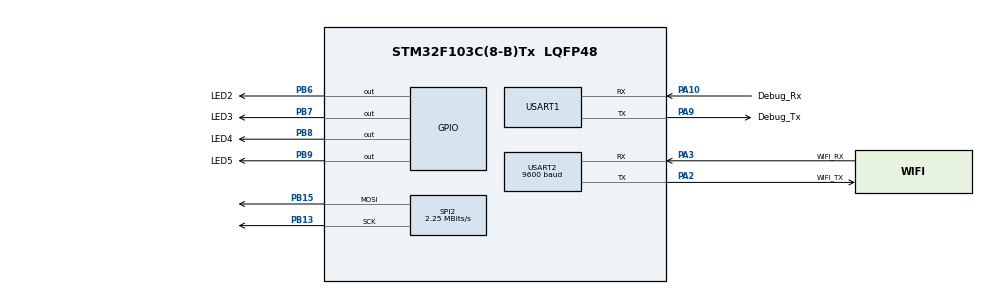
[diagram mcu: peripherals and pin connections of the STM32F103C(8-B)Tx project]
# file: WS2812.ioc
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Mcu.Family=STM32F1
Mcu.Name=STM32F103C(8-B)Tx
Mcu.Package=LQFP48
NVIC.PriorityGroup=NVIC_PRIORITYGROUP_4
PA10.GPIO_Label=Debug_Rx
PA10.Mode=Asynchronous
PA10.Signal=USART1_RX
PA13.Mode=Serial_Wire
PA13.Signal=SYS_JTMS-SWDIO
PA14.Mode=Serial_Wire
PA14.Signal=SYS_JTCK-SWCLK
PA2.GPIO_Label=WIFI_TX
PA2.Mode=Asynchronous
PA2.Signal=USART2_TX
PA3.GPIO_Label=WIFI_RX
PA3.Mode=Asynchronous
PA3.Signal=USART2_RX
PA9.GPIO_Label=Debug_Tx
PA9.Mode=Asynchronous
PA9.Signal=USART1_TX
PB13.Mode=TX_Only_Simplex_Unidirect_Master
PB13.Signal=SPI2_SCK
PB15.Mode=TX_Only_Simplex_Unidirect_Master
PB15.Signal=SPI2_MOSI
PB6.GPIO_Label=LED2
PB6.GPIO_PuPd=GPIO_NOPULL
PB6.GPIO_Speed=GPIO_SPEED_FREQ_HIGH
PB6.PinState=GPIO_PIN_SET
PB6.Signal=GPIO_Output
PB7.GPIO_Label=LED3
PB7.GPIO_PuPd=GPIO_NOPULL
PB7.GPIO_Speed=GPIO_SPEED_FREQ_HIGH
PB7.PinState=GPIO_PIN_SET
PB7.Signal=GPIO_Output
PB8.GPIO_Label=LED4
PB8.GPIO_PuPd=GPIO_NOPULL
PB8.GPIO_Speed=GPIO_SPEED_FREQ_HIGH
PB8.PinState=GPIO_PIN_SET
PB8.Signal=GPIO_Output
PB9.GPIO_Label=LED5
PB9.GPIO_PuPd=GPIO_NOPULL
PB9.GPIO_Speed=GPIO_SPEED_FREQ_HIGH
PB9.PinState=GPIO_PIN_SET
PB9.Signal=GPIO_Output
PC14-OSC32_IN.Mode=LSE-External-Oscillator
PC14-OSC32_IN.Signal=RCC_OSC32_IN
PC15-OSC32_OUT.Mode=LSE-External-Oscillator
PC15-OSC32_OUT.Signal=RCC_OSC32_OUT
PD0-OSC_IN.Mode=HSE-External-Oscillator
PD0-OSC_IN.Signal=RCC_OSC_IN
PD1-OSC_OUT.Mode=HSE-External-Oscillator
PD1-OSC_OUT.Signal=RCC_OSC_OUT
ProjectManager.HeapSize=0x200
ProjectManager.StackSize=0x400
ProjectManager.TargetToolchain=MDK-ARM V5
RCC.AHBFreq_Value=72000000
RCC.APB1CLKDivider=RCC_HCLK_DIV2
RCC.APB1Freq_Value=36000000
RCC.APB1TimFreq_Value=72000000
RCC.APB2Freq_Value=72000000
RCC.APB2TimFreq_Value=72000000
RCC.EnbaleCSS=true
RCC.HCLKFreq_Value=72000000
RCC.LSIState-ClockTree=RCC_LSI_ON
RCC.PLLMUL=RCC_PLL_MUL9
RCC.PLLSourceVirtual=RCC_PLLSOURCE_HSE
RCC.SYSCLKFreq_VALUE=72000000
RCC.SYSCLKSource=RCC_SYSCLKSOURCE_PLLCLK
RCC.USBFreq_Value=72000000
SPI2.BaudRatePrescaler=SPI_BAUDRATEPRESCALER_16
SPI2.CalculateBaudRate=2.25 MBits/s
SPI2.Direction=SPI_DIRECTION_2LINES
SPI2.Mode=SPI_MODE_MASTER
SPI2.VirtualType=VM_MASTER
USART1.VirtualMode=VM_ASYNC
USART2.BaudRate=9600
USART2.VirtualMode=VM_ASYNC
board=custom

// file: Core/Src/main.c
/* USER CODE BEGIN Header */
/**
  ******************************************************************************
  * @file           : main.c
  * @brief          : Main program body
  ******************************************************************************
  ** This notice applies to any and all portions of this file
  * that are not between comment pairs USER CODE BEGIN and
  * USER CODE END. Other portions of this file, whether
  * inserted by the user or by software development tools
  * are owned by their respective copyright owners.
  *
  * COPYRIGHT(c) 2019 STMicroelectronics
  *
  * Redistribution and use in source and binary forms, with or without modification,
  * are permitted provided that the following conditions are met:
  *   1. Redistributions of source code must retain the above copyright notice,
  *      this list of conditions and the following disclaimer.
  *   2. Redistributions in binary form must reproduce the above copyright notice,
  *      this list of conditions and the following disclaimer in the documentation
  *      and/or other materials provided with the distribution.
  *   3. Neither the name of STMicroelectronics nor the names of its contributors
  *      may be used to endorse or promote products derived from this software
  *      without specific prior written permission.
  *
  * THIS SOFTWARE IS PROVIDED BY THE COPYRIGHT HOLDERS AND CONTRIBUTORS "AS IS"
  * AND ANY EXPRESS OR IMPLIED WARRANTIES, INCLUDING, BUT NOT LIMITED TO, THE
  * IMPLIED WARRANTIES OF MERCHANTABILITY AND FITNESS FOR A PARTICULAR PURPOSE ARE
  * DISCLAIMED. IN NO EVENT SHALL THE COPYRIGHT HOLDER OR CONTRIBUTORS BE LIABLE
  * FOR ANY DIRECT, INDIRECT, INCIDENTAL, SPECIAL, EXEMPLARY, OR CONSEQUENTIAL
  * DAMAGES (INCLUDING, BUT NOT LIMITED TO, PROCUREMENT OF SUBSTITUTE GOODS OR
  * SERVICES; LOSS OF USE, DATA, OR PROFITS; OR BUSINESS INTERRUPTION) HOWEVER
  * CAUSED AND ON ANY THEORY OF LIABILITY, WHETHER IN CONTRACT, STRICT LIABILITY,
  * OR TORT (INCLUDING NEGLIGENCE OR OTHERWISE) ARISING IN ANY WAY OUT OF THE USE
  * OF THIS SOFTWARE, EVEN IF ADVISED OF THE POSSIBILITY OF SUCH DAMAGE.
  *
  ******************************************************************************
  */
/* USER CODE END Header */

#include "main.h"
#include "spi.h"
#include "usart.h"
#include "gpio.h"

/* USER CODE BEGIN Includes */
#include "BSP_WS2812.h"
/* USER CODE END Includes */

/* USER CODE BEGIN PV */

/***********************
3  2   1  0
4  5   6  7
8   9 10 11
12 13 14 15
***********************/
uint8_t WS2812_1[16]={
	                   0,1,1,0,   // ��һ��
																		 	0,0,1,0,
																		 	0,1,0,0,   //������  �Գ�ԭͼ��
																		 	0,0,1,0
};
uint8_t WS2812_L[16]={
	                   0,0,1,0,
																		 	0,1,0,0,
																		 	0,0,1,0,
																		 	0,1,1,1
};
uint8_t WS2812_O[16]={
	                   0,1,1,0,
																		 	1,0,0,1,
																		  1,0,0,1,
																		 	0,1,1,0
};
uint8_t WS2812_U[16]={
	                    1,0,0,1,
																		 	 1,0,0,1,
																		 	 1,0,0,1,
																		 	 0,1,1,0
};
uint8_t WS2812_V[16]={
	                   0,0,0,0,
																		 	0,0,0,1,
																		 	0,1,0,1,
																		 	0,1,0,0
};
/* USER CODE END PV */

void SystemClock_Config(void);

int main(void)
{

  /* MCU Configuration--------------------------------------------------------*/

  /* Reset of all peripherals, Initializes the Flash interface and the Systick. */
  HAL_Init();

  /* Configure the system clock */
  SystemClock_Config();

  /* Initialize all configured peripherals */
  MX_GPIO_Init();
  MX_USART2_UART_Init();
  MX_USART1_UART_Init();
  MX_SPI2_Init();
  /* USER CODE BEGIN 2 */
		WS2812_Init(&hWS2812,16);
		colorWipe(&hWS2812,WHITE,0);
//		WS2812_ShowChar(&hWS2812,WS2812_L,RED,BLACK,1000);
//		WS2812_ShowChar(&hWS2812,WS2812_O,WHITE,BLACK,1000);
//
//		WS2812_ShowChar(&hWS2812,WS2812_L,RED,BLACK,1000);
//		WS2812_ShowChar(&hWS2812,WS2812_O,RED,BLACK,1000);
//		WS2812_ShowChar(&hWS2812,WS2812_V,WHITE,BLACK,1000);
//
//		WS2812_ShowChar(&hWS2812,WS2812_U,WHITE,BLACK,1000);

//		WS2812_SetBrightness(&hWS2812,100);
//		colorWipe(&hWS2812,WHITE,0);
//		LL_mDelay(1000);
//		WS2812_SetBrightness(&hWS2812,200);
//
//		LL_mDelay(1000);
//   LL_GPIO_SetOutputPin(GPIOB, LED2_Pin|LED3_Pin|LED4_Pin|LED5_Pin);
//		LL_mDelay(500);
//		LL_GPIO_ResetOutputPin(GPIOB, LED2_Pin|LED3_Pin|LED4_Pin|LED5_Pin);
  /* USER CODE END 2 */

  /* Infinite loop */
  /* USER CODE BEGIN WHILE */
  while (1)
  {
			 rainbow(&hWS2812,100);
    /* USER CODE END WHILE */

    /* USER CODE BEGIN 3 */
			 theaterChaseRainbow(&hWS2812,100);
  }
  /* USER CODE END 3 */
}

void SystemClock_Config(void)
{
  LL_FLASH_SetLatency(LL_FLASH_LATENCY_2);

   if(LL_FLASH_GetLatency() != LL_FLASH_LATENCY_2)
  {
    Error_Handler();
  }
  LL_RCC_HSE_Enable();

   /* Wait till HSE is ready */
  while(LL_RCC_HSE_IsReady() != 1)
  {

  }
  LL_RCC_HSE_EnableCSS();
  LL_RCC_PLL_ConfigDomain_SYS(LL_RCC_PLLSOURCE_HSE_DIV_1, LL_RCC_PLL_MUL_9);
  LL_RCC_PLL_Enable();

   /* Wait till PLL is ready */
  while(LL_RCC_PLL_IsReady() != 1)
  {

  }
  LL_RCC_SetAHBPrescaler(LL_RCC_SYSCLK_DIV_1);
  LL_RCC_SetAPB1Prescaler(LL_RCC_APB1_DIV_2);
  LL_RCC_SetAPB2Prescaler(LL_RCC_APB2_DIV_1);
  LL_RCC_SetSysClkSource(LL_RCC_SYS_CLKSOURCE_PLL);

   /* Wait till System clock is ready */
  while(LL_RCC_GetSysClkSource() != LL_RCC_SYS_CLKSOURCE_STATUS_PLL)
  {

  }
  LL_Init1msTick(72000000);
  LL_SYSTICK_SetClkSource(LL_SYSTICK_CLKSOURCE_HCLK);
  LL_SetSystemCoreClock(72000000);
}

void Error_Handler(void)
{
}

/************************ (C) COPYRIGHT STMicroelectronics *****END OF FILE****/
